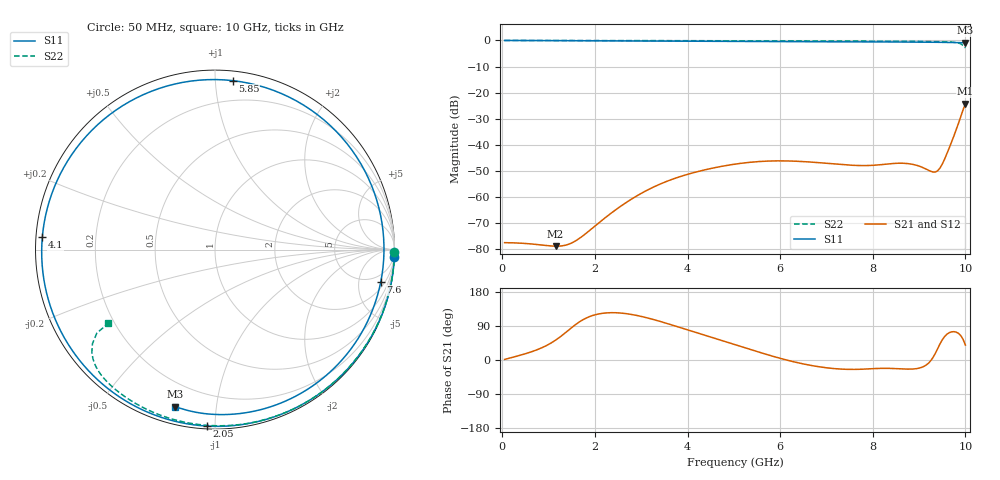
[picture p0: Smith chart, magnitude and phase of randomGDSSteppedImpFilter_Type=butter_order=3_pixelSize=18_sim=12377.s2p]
! freq	dB(S11)	phase(S11)	dB(S12)	phase(S12)
!  dB(S21)	phase(S21)	dB(S22)	phase(S22)
!S-par simulation data
#  GHz  S  DB  R 50
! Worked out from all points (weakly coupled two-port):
!   200 points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, 50 MHz to 10 GHz, reference 50 ohm
!   highest |S21| = -24.27 dB at 10 GHz (marker M1); lowest = -79.0 dB at 1.15 GHz (marker M2)
!   lowest |S11| = -0.9 dB at 10 GHz (marker M3), VSWR 19.72, Z = 4.05 - j38.6 ohm
!   |S11| at or under -10 dB: nowhere
!   |S22| runs from -2.8 to 0.0 dB; largest |S21 - S12| = 0
!   S11 on the Smith chart (normalised r, x): 50 MHz: 0, -49; 2.05 GHz: 0.02, -0.95; 4.1 GHz: 0.02, +0.04; 5.85 GHz: 0.06, +1.11; 7.6 GHz: 3.02, -9.44; 10 GHz: 0.08, -0.77
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0.05  -0.00 -2.3  -77.61 1.6  -77.61 1.6  -0.00 -0.8
0.55  -0.02 -25.5  -77.99 18.5  -77.99 18.5  -0.01 -8.4
1.15  -0.07 -52.8  -78.96 52.3  -78.96 52.3  -0.02 -17.5
1.75  -0.12 -79.5  -74.86 106.8  -74.86 106.8  -0.03 -26.5
2.05  -0.14 -92.7  -70.52 120.7  -70.52 120.7  -0.04 -30.9
2.7  -0.19 -121.0  -61.91 121.9  -61.91 121.9  -0.05 -40.4
3.4  -0.25 -151.9  -55.18 102.1  -55.18 102.1  -0.07 -50.4
4.1  -0.31 175.9  -50.89 75.8  -50.89 75.8  -0.08 -60.1
4.55  -0.36 153.9  -48.97 58.7  -48.97 58.7  -0.10 -66.3
5.05  -0.41 128.1  -47.41 39.6  -47.41 39.6  -0.11 -73.0
5.45  -0.45 106.5  -46.60 24.2  -46.60 24.2  -0.13 -78.2
5.85  -0.48 84.1  -46.24 9.6  -46.24 9.6  -0.14 -83.4
6.25  -0.50 61.4  -46.29 -3.5  -46.29 -3.5  -0.16 -88.5
6.7  -0.51 36.1  -46.72 -15.1  -46.72 -15.1  -0.18 -94.2
7.15  -0.52 11.8  -47.36 -22.5  -47.36 -22.5  -0.21 -99.8
7.6  -0.53 -11.0  -47.94 -24.8  -47.94 -24.8  -0.24 -105.3
8.35  -0.57 -44.9  -47.36 -22.0  -47.36 -22.0  -0.29 -114.6
8.85  -0.62 -64.9  -47.51 -23.8  -47.51 -23.8  -0.34 -121.0
9.4  -0.71 -84.9  -50.02 29.7  -50.02 29.7  -0.43 -129.0
9.6  -0.75 -91.8  -43.50 67.9  -43.50 67.9  -0.52 -132.7
9.9  -0.86 -101.6  -29.24 64.4  -29.24 64.4  -1.30 -142.5
10  -0.88 -104.4  -24.27 39.4  -24.27 39.4  -2.83 -145.4
